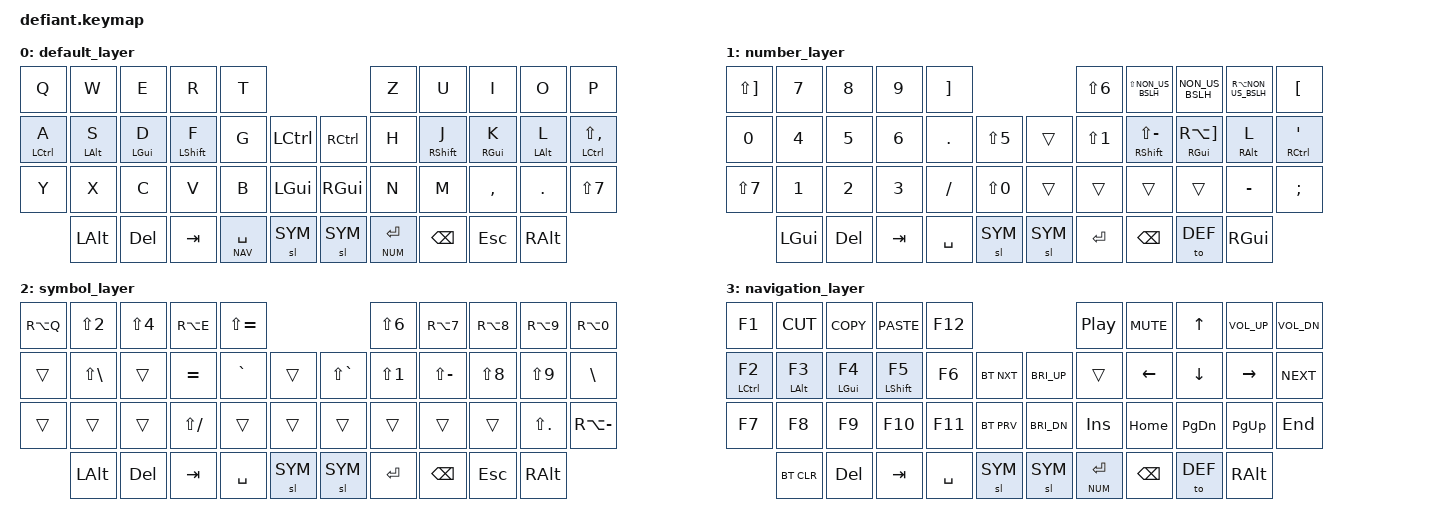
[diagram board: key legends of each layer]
#include <behaviors.dtsi>
#include <dt-bindings/zmk/keys.h>
#include <dt-bindings/zmk/outputs.h>
#include <dt-bindings/zmk/bt.h>

#define DEF 0
#define NUM 1
#define SYM 2
#define NAV 3

// German Keybindings

// Special characters
#define GE_TILDE      RA(RBKT)   // ~ -> AltGr + ]
#define GE_GRAVE      LS(EQUAL)  // ` -> Shift + = 
#define GE_EXCLAIM    LS(N1)     // ! -> Shift + 1
#define GE_DQUOTE     LS(N2)     // " -> Shift + 2
#define GE_SECTION    LA(N3)     // § -> Alt + 3
#define GE_DOLLAR     LS(N4)     // $ -> Shift + 4
#define GE_PERCENT    LS(N5)     // % -> Shift + 5
#define GE_PRCNT      LS(N5)     // % -> Shift + 5
#define GE_AMPERSAND  LS(N6)     // & -> Shift + 6
#define GE_AMPS       LS(N6)     // & -> Shift + 6
#define GE_SLASH      LS(N7)     // / -> Shift + 7
#define GE_FSLH       LS(N7)     // / -> Shift + 7
#define GE_LPAREN     LS(N8)     // ( -> Shift + 8
#define GE_RPAREN     LS(N9)     // ) -> Shift + 9
#define GE_EQUAL      LS(N0)     // = -> Shift + 0
#define GE_QUESTION   LS(MINUS)  // ? -> Shift + -
#define GE_BACKSLASH  RA(MINUS)  // \ -> AltGr + -
#define GE_ESZETT     MINUS      // ß -> - (US keyboard)
#define GE_ACUTE      EQUAL      // ´ (acute accent) -> Shift + ] (US) 
#define GE_PLUS       RBKT       // + -> ] (US)
#define GE_ASTERISK   LS(RBKT)   // * -> Shift + ] (US)
#define GE_STAR       LS(RBKT)   // * -> Shift + ] (US)
#define GE_APOSTROPHE LS(BSLH)   // ' (apostrophe) -> Shift + \ (US)
#define GE_APS        LS(BSLH)   // ' (apostrophe) -> Shift + \ (US)
#define GE_SQT        LS(BSLH)   // ' (apostrophe) -> Shift + \ (US)

// Letters with Umlauts
#define GE_UE         LBKT       // ü -> [ (US)
#define GE_OE         SEMI       // ö -> ; (US)
#define GE_AE         SQT        // ä -> ' (US)
#define GE_UE_CAP     LS(LBKT)   // Ü -> Shift + [ (US)
#define GE_OE_CAP     LS(SEMI)   // Ö -> Shift + ; (US)
#define GE_AE_CAP     LS(SQT)    // Ä -> Shift + ' (US)

// Brackets
#define GE_LBRACE     RA(N7)     // { -> AltGr + 7 (US)
#define GE_RBRACE     RA(N0)     // } -> AltGr + 0 (US)
#define GE_LBRACKET   RA(N8)     // [ -> AltGr + 8 (US)
#define GE_RBRACKET   RA(N9)     // ] -> AltGr + 9 (US)

// Punctuation
#define GE_COMMA      COMMA      // , -> , (US)
#define GE_PERIOD     DOT        // . -> . (US)
#define GE_DOT        DOT        // . -> . (US)
#define GE_MINUS      SLASH      // - -> / (US)
#define GE_UNDERSCORE LS(SLASH)  // _ -> Shift + / (US)
#define GE_COLON      LS(DOT)    // : -> Shift + . (US)
#define GE_SEMICOLON  LS(COMMA)  // ; -> Shift + , (US)

// Symbols needing AltGr
#define GE_AT         RA(Q)      // @ -> AltGr + Q (US)
#define GE_HASH       BSLH       // # -> AltGr + 3 (US)
#define GE_EURO       RA(E)      // € -> AltGr + E (US)
#define GE_LT       NON_US_BSLH  // < -> NON_US_BSLH (\)
#define GE_GT   LS(NON_US_BSLH)  // > -> Shift + NON_US_BSLH (\)
#define GE_PIPE RA(NON_US_BSLH)  // | -> AltGr + NON_US_BSLH (\)
#define GE_CARET      GRAVE      // ^ -> `
#define GE_DEGREE     LS(GRAVE)  // ^ -> `

// Lowercase letters
#define GE_A A
#define GE_B B
#define GE_C C
#define GE_D D
#define GE_E E
#define GE_F F
#define GE_G G
#define GE_H H
#define GE_I I
#define GE_J J
#define GE_K K
#define GE_L L
#define GE_M M
#define GE_N N
#define GE_O O
#define GE_P P
#define GE_Q Q
#define GE_R R
#define GE_S S
#define GE_T T
#define GE_U U
#define GE_V V
#define GE_W W
#define GE_X X
#define GE_Y Z    // German "Y" is in the position of "Z" on US keyboards
#define GE_Z Y    // German "Z" is in the position of "Y" on US keyboards

// Uppercase letters (Shifted versions)
#define GE_A_CAP LS(A)
#define GE_B_CAP LS(B)
#define GE_C_CAP LS(C)
#define GE_D_CAP LS(D)
#define GE_E_CAP LS(E)
#define GE_F_CAP LS(F)
#define GE_G_CAP LS(G)
#define GE_H_CAP LS(H)
#define GE_I_CAP LS(I)
#define GE_J_CAP LS(J)
#define GE_K_CAP LS(K)
#define GE_L_CAP LS(L)
#define GE_M_CAP LS(M)
#define GE_N_CAP LS(N)
#define GE_O_CAP LS(O)
#define GE_P_CAP LS(P)
#define GE_Q_CAP LS(Q)
#define GE_R_CAP LS(R)
#define GE_S_CAP LS(S)
#define GE_T_CAP LS(T)
#define GE_U_CAP LS(U)
#define GE_V_CAP LS(V)
#define GE_W_CAP LS(W)
#define GE_X_CAP LS(X)
#define GE_Y_CAP LS(Z)  // Shifted "Y" -> US "Z"
#define GE_Z_CAP LS(Y)  // Shifted "Z" -> US "Y"

// Numbers
#define GE_N0 N0
#define GE_N1 N1
#define GE_N2 N2
#define GE_N3 N3
#define GE_N4 N4
#define GE_N5 N5
#define GE_N6 N6
#define GE_N7 N7
#define GE_N8 N8
#define GE_N9 N9

// Modifiers
#define GE_LCTRL LCTRL
#define GE_RCTRL RCTRL
#define GE_LALT LALT
#define GE_RALT RALT
#define GE_LGUI LGUI
#define GE_RGUI RGUI
#define GE_LSHFT LSHFT
#define GE_RSHFT RSHFT

// Function keys
#define GE_F1  F1
#define GE_F2  F2
#define GE_F3  F3
#define GE_F4  F4
#define GE_F5  F5
#define GE_F6  F6
#define GE_F7  F7
#define GE_F8  F8
#define GE_F9  F9
#define GE_F10 F10
#define GE_F11 F11
#define GE_F12 F12

// Arrow keys
#define GE_LEFT  LEFT
#define GE_DOWN  DOWN
#define GE_UP    UP
#define GE_RIGHT RIGHT

// Other mix
#define GE_TAB TAB
#define GE_DEL DEL
#define GE_SPACE SPACE
#define GE_RET RET
#define GE_BSPC BSPC
#define GE_ESC ESC




/ {
behaviors {
    lhm: left_homerow_mods {
        compatible = "zmk,behavior-hold-tap";
        #binding-cells = <2>;
        flavor = "tap-unless-interrupted";
        tapping-term-ms = <100>;                        
        quick-tap-ms = <200>;
        bindings = <&kp>, <&kp>;
        hold-trigger-key-positions = <5 6 7 8 9 16 17 18 19 20 21 28 29 30 31 32 33 39 40 41 42 43>;   
    };
 
     rhm: right_homerow_mods {
        compatible = "zmk,behavior-hold-tap";
        #binding-cells = <2>;
        flavor = "tap-unless-interrupted";
        tapping-term-ms = <100>;                      
        quick-tap-ms = <200>;
        bindings = <&kp>, <&kp>;
        hold-trigger-key-positions = <0 1 2 3 4 9 10 11 12 13 14 15 22 23 24 25 26 27 34 35 36 37 38>; 
    };

    hll: hold_long {
        compatible = "zmk,behavior-hold-tap";
        label = "Hold-Tap Long";
        #binding-cells = <2>;
        flavor = "tap-preferred";
        bindings =
            <&kp>,
            <&kp>;

        tapping-term-ms = <400>;
        quick-tap-ms = <100>;
        global-quick-tap;
    };
    hl: hold {
        compatible = "zmk,behavior-hold-tap";
        label = "Hold-Tap";
        #binding-cells = <2>;
        flavor = "tap-preferred";
        bindings =
            <&kp>,
            <&kp>;

        tapping-term-ms = <300>;
        quick-tap-ms = <100>;
        global-quick-tap;
    };
    hls: hold_short {
        compatible = "zmk,behavior-hold-tap";
        label = "Hold-Tap Short";
        #binding-cells = <2>;
        flavor = "tap-preferred";
        bindings =
            <&kp>,
            <&kp>;

        tapping-term-ms = <200>;
        quick-tap-ms = <100>;
        global-quick-tap;
    };

    combos {
        compatible = "zmk,combos";

        reset_right {
            bindings = <&bootloader>;
            key-positions = <16 28 43>;
            // layers = <0 2>;
        };

        reset_left {
            bindings = <&bootloader>;
            key-positions = <15 27 34>;
        };
    };

};

keymap {
    compatible = "zmk,keymap";

    default_layer {
        bindings = <
            &kp GE_Q           &kp GE_W          &kp GE_E          &kp GE_R           &kp GE_T                                              &kp GE_Y       &kp GE_U           &kp GE_I          &kp GE_O              &kp GE_P  
            &hll GE_LCTRL GE_A &hll GE_LALT GE_S &hll GE_LGUI GE_D &hls GE_LSHFT GE_F &kp GE_G         &kp GE_LCTRL          &kp GE_RCTRL   &kp GE_H       &hls GE_RSHFT GE_J &hll GE_RGUI GE_K &hll GE_LALT GE_L     &hll GE_LCTRL GE_SEMICOLON 
            &kp GE_Z           &kp GE_X          &kp GE_C          &kp GE_V           &kp GE_B         &kp GE_LGUI           &kp GE_RGUI    &kp GE_N       &kp GE_M           &kp GE_COMMA      &kp GE_DOT            &kp GE_FSLH
                               &kp GE_LALT       &kp GE_DEL        &kp GE_TAB         &lt NAV GE_SPACE &sl SYM               &sl SYM        &lt NUM GE_RET &kp GE_BSPC        &kp GE_ESC        &kp GE_RALT
        >;
    };

    number_layer {
        bindings = <
            &kp GE_STAR  &kp GE_N7    &kp GE_N8    &kp GE_N9    &kp GE_PLUS                                       &kp GE_AMPS     &kp GE_GT                  &kp GE_LT             &kp GE_PIPE      &kp GE_UE
            &kp GE_N0    &kp GE_N4    &kp GE_N5    &kp GE_N6    &kp GE_DOT       &kp GE_PRCNT          &trans     &kp GE_EXCLAIM  &mt  GE_RSHFT  GE_QUESTION &mt  GE_RGUI GE_TILDE &mt GE_RALT GE_L &mt GE_RCTRL GE_AE 
            &kp GE_FSLH  &kp GE_N1    &kp GE_N2    &kp GE_N3    &kp GE_MINUS     &kp GE_EQUAL          &trans     &trans          &trans                     &trans                &kp GE_ESZETT    &kp GE_OE 
                         &kp GE_LGUI  &kp GE_DEL   &kp GE_TAB   &kp GE_SPACE     &sl  SYM              &sl  SYM   &kp GE_RET      &kp GE_BSPC                &to DEF               &kp GE_RGUI
        >;
    };

    symbol_layer {
        bindings = <
            &kp GE_AT  &kp GE_DQUOTE   &kp GE_DOLLAR &kp GE_EURO       &kp GE_GRAVE                                     &kp GE_AMPS     &kp GE_LBRACE     &kp GE_LBRACKET  &kp GE_RBRACKET  &kp GE_RBRACE
            &trans     &kp GE_APS      &trans        &kp GE_ACUTE      &kp GE_CARET    &trans            &kp  GE_DEGREE &kp GE_EXCLAIM  &kp GE_QUESTION   &kp GE_LPAREN    &kp GE_RPAREN    &kp GE_HASH 
            &trans     &trans          &trans        &kp GE_UNDERSCORE &trans          &trans            &trans         &trans          &trans            &trans           &kp GE_COLON     &kp GE_BACKSLASH 
                       &kp GE_LALT     &kp GE_DEL    &kp GE_TAB        &kp GE_SPACE    &sl  SYM          &sl  SYM       &kp GE_RET      &kp GE_BSPC       &kp GE_ESC       &kp GE_RALT
        >;
    };

    navigation_layer {
        bindings = <
            &kp GE_F1            &kp K_CUT             &kp K_COPY            &kp K_PASTE           &kp GE_F12                                     &kp C_PP       &kp C_MUTE   &kp GE_UP    &kp C_VOL_UP  &kp C_VOL_DN   
            &hll GE_LCTRL GE_F2  &hll GE_LALT GE_F3    &hll GE_LGUI GE_F4    &hls GE_LSHFT GE_F5   &kp GE_F6     &bt BT_NXT          &kp C_BRI_UP &trans         &kp GE_LEFT  &kp GE_DOWN  &kp GE_RIGHT  &kp C_NEXT 
            &kp GE_F7            &kp GE_F8             &kp GE_F9             &kp GE_F10            &kp GE_F11    &bt BT_PRV          &kp C_BRI_DN &kp INS        &kp HOME     &kp PG_DN    &kp PG_UP     &kp END 
                                 &bt BT_CLR            &kp GE_DEL            &kp GE_TAB            &kp GE_SPACE  &sl SYM             &sl SYM      &lt NUM GE_RET &kp GE_BSPC  &to DEF      &kp GE_RALT
        >;
    };

};

};
    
